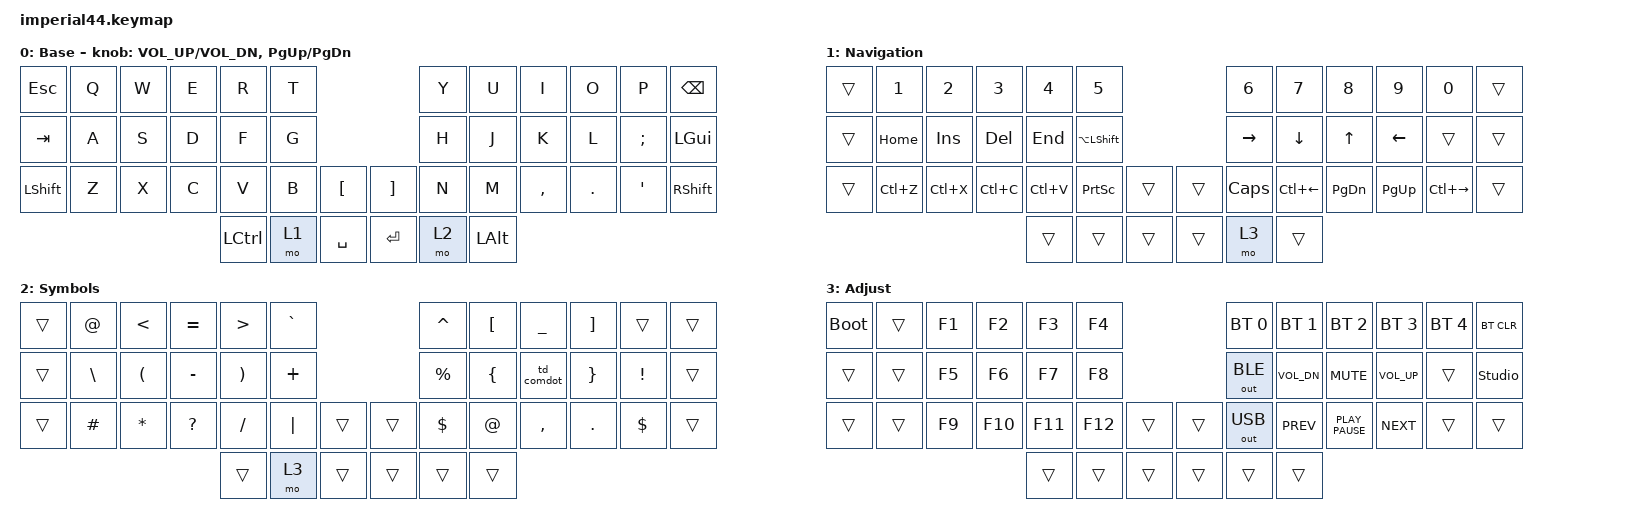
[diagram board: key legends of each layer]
#include "keys_ru.h"
#include <behaviors.dtsi>
#include <dt-bindings/zmk/bt.h>
#include <dt-bindings/zmk/keys.h>
#include <dt-bindings/zmk/outputs.h>

/ {
    behaviors {
        td_comdot: td_comdot {
            compatible = "zmk,behavior-tap-dance";
            label = "TD_COMDOT";
            #binding-cells = <0>;
            bindings = <&kp SEMI>, <&kp COLON>;
        };
    };

    keymap {
        compatible = "zmk,keymap";

        base {
            bindings = <
&kp ESC    &kp Q  &kp W  &kp E  &kp R      &kp T                          &kp Y  &kp U     &kp I      &kp O    &kp P     &kp BACKSPACE
&kp TAB    &kp A  &kp S  &kp D  &kp F      &kp G                          &kp H  &kp J     &kp K      &kp L    &kp SEMI  &kp LGUI
&kp LSHFT  &kp Z  &kp X  &kp C  &kp V      &kp B  &kp LBKT     &kp RBKT   &kp N  &kp M     &kp COMMA  &kp DOT  &kp SQT   &kp RSHFT
                                &kp LCTRL  &mo 1  &kp SPACE    &kp ENTER  &mo 2  &kp LALT
            >;

            display-name = "Base";
            sensor-bindings =
                <&inc_dec_kp C_VOL_UP C_VOL_DN>,
                <&inc_dec_kp PG_UP PG_DN>;
        };

        nav {
            bindings = <
&trans  &kp N1     &kp N2     &kp N3      &kp N4     &kp N5                             &kp N6           &kp N7        &kp N8     &kp N9     &kp N0         &trans
&trans  &kp HOME   &kp INS    &kp DELETE  &kp END    &kp LA(LSHFT)                      &kp RIGHT_ARROW  &kp DOWN      &kp UP     &kp LEFT   &trans         &trans
&trans  &kp LC(Z)  &kp LC(X)  &kp LC(C)   &kp LC(V)  &kp PRINTSCREEN  &trans    &trans  &kp CAPSLOCK     &kp LC(LEFT)  &kp PG_DN  &kp PG_UP  &kp LC(RIGHT)  &trans
                                          &trans     &trans           &trans    &trans  &mo 3            &trans
            >;

            display-name = "Navigation";
        };

        sym {
            bindings = <
&trans  &kp AT    &kp LT    &kp EQUAL  &kp GT    &kp GRAVE                    &kp CARET   &kp LBKT     &kp UNDER   &kp RBKT  &trans    &trans
&trans  &kp BSLH  &kp LPAR  &kp MINUS  &kp RPAR  &kp PLUS                     &kp PRCNT   &kp LBRC     &td_comdot  &kp RBRC  &kp EXCL  &trans
&trans  &kp HASH  &kp STAR  &kp QMARK  &kp FSLH  &kp PIPE   &trans    &trans  &kp DOLLAR  &kp AT_SIGN  &kp COMMA   &kp DOT   &kp DLLR  &trans
                                       &trans    &mo 3      &trans    &trans  &trans      &trans
            >;

            display-name = "Symbols";
        };

        adj {
            bindings = <
&bootloader  &trans  &kp F1  &kp F2   &kp F3   &kp F4                     &bt BT_SEL 0  &bt BT_SEL 1  &bt BT_SEL 2      &bt BT_SEL 3  &bt BT_SEL 4  &bt BT_CLR
&trans       &trans  &kp F5  &kp F6   &kp F7   &kp F8                     &out OUT_BLE  &kp C_VOL_DN  &kp K_MUTE        &kp C_VOL_UP  &trans        &studio_unlock
&trans       &trans  &kp F9  &kp F10  &kp F11  &kp F12  &trans    &trans  &out OUT_USB  &kp K_PREV    &kp K_PLAY_PAUSE  &kp K_NEXT    &trans        &trans
                                      &trans   &trans   &trans    &trans  &trans        &trans
            >;

            display-name = "Adjust";
        };
    };
};
